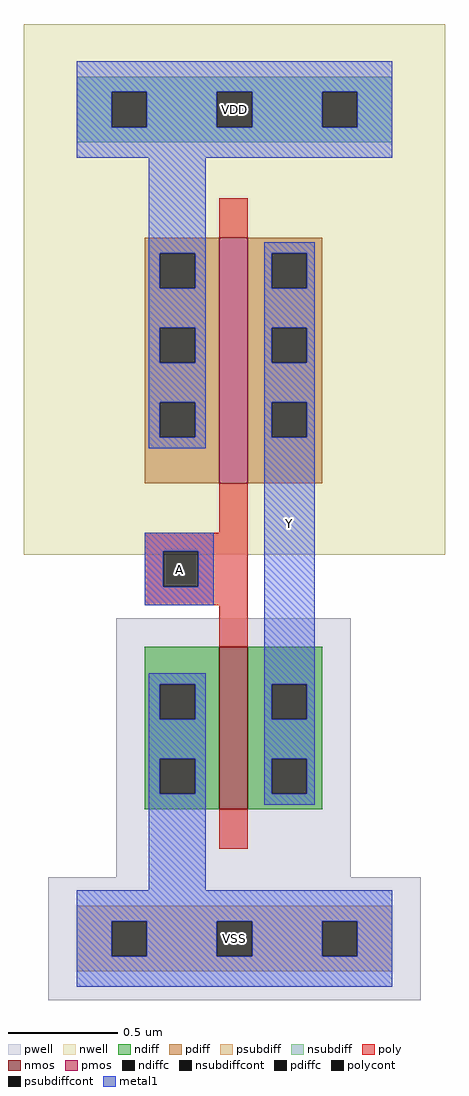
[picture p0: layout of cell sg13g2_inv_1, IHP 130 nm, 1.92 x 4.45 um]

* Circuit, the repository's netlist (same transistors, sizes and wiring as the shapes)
.SUBCKT sg13g2_inv_1 Y A VDD VSS
*.PININFO A:I Y:O VDD:B VSS:B
MN0 Y A VSS VSS sg13_lv_nmos m=1 w=740.00n l=130.00n ng=1
MP0 Y A VDD VDD sg13_lv_pmos m=1 w=1.12u l=130.00n ng=1
.ENDS

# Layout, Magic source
magic
tech ihp-sg13g2
magscale 1 2
<< nwell >>
rect -48 350 336 834
<< pwell >>
rect 36 56 250 292
rect -26 -56 314 56
<< nmos >>
rect 130 118 156 266
<< pmos >>
rect 130 415 156 639
<< ndiff >>
rect 62 232 130 266
rect 62 200 76 232
rect 108 200 130 232
rect 62 164 130 200
rect 62 132 76 164
rect 108 132 130 164
rect 62 118 130 132
rect 156 232 224 266
rect 156 200 178 232
rect 210 200 224 232
rect 156 164 224 200
rect 156 132 178 164
rect 210 132 224 164
rect 156 118 224 132
<< pdiff >>
rect 62 625 130 639
rect 62 593 76 625
rect 108 593 130 625
rect 62 557 130 593
rect 62 525 76 557
rect 108 525 130 557
rect 62 489 130 525
rect 62 457 76 489
rect 108 457 130 489
rect 62 415 130 457
rect 156 625 224 639
rect 156 593 178 625
rect 210 593 224 625
rect 156 557 224 593
rect 156 525 178 557
rect 210 525 224 557
rect 156 489 224 525
rect 156 457 178 489
rect 210 457 224 489
rect 156 415 224 457
<< ndiffc >>
rect 76 200 108 232
rect 76 132 108 164
rect 178 200 210 232
rect 178 132 210 164
<< pdiffc >>
rect 76 593 108 625
rect 76 525 108 557
rect 76 457 108 489
rect 178 593 210 625
rect 178 525 210 557
rect 178 457 210 489
<< psubdiff >>
rect 0 16 288 30
rect 0 -16 32 16
rect 64 -16 128 16
rect 160 -16 224 16
rect 256 -16 288 16
rect 0 -30 288 -16
<< nsubdiff >>
rect 0 772 288 786
rect 0 740 32 772
rect 64 740 128 772
rect 160 740 224 772
rect 256 740 288 772
rect 0 726 288 740
<< psubdiffcont >>
rect 32 -16 64 16
rect 128 -16 160 16
rect 224 -16 256 16
<< nsubdiffcont >>
rect 32 740 64 772
rect 128 740 160 772
rect 224 740 256 772
<< poly >>
rect 130 639 156 675
rect 130 370 156 415
rect 62 353 156 370
rect 62 321 79 353
rect 111 321 156 353
rect 62 304 156 321
rect 130 266 156 304
rect 130 82 156 118
<< polycont >>
rect 79 321 111 353
<< metal1 >>
rect 0 772 288 800
rect 0 740 32 772
rect 64 740 128 772
rect 160 740 224 772
rect 256 740 288 772
rect 0 712 288 740
rect 66 625 118 712
rect 66 593 76 625
rect 108 593 118 625
rect 66 557 118 593
rect 66 525 76 557
rect 108 525 118 557
rect 66 489 118 525
rect 66 457 76 489
rect 108 457 118 489
rect 66 447 118 457
rect 171 625 217 635
rect 171 593 178 625
rect 210 593 217 625
rect 171 557 217 593
rect 171 525 178 557
rect 210 525 217 557
rect 171 489 217 525
rect 171 457 178 489
rect 210 457 217 489
rect 62 353 125 370
rect 62 321 79 353
rect 111 321 125 353
rect 62 304 125 321
rect 66 232 118 242
rect 66 200 76 232
rect 108 200 118 232
rect 66 164 118 200
rect 66 132 76 164
rect 108 132 118 164
rect 66 44 118 132
rect 171 232 217 457
rect 171 200 178 232
rect 210 200 217 232
rect 171 164 217 200
rect 171 132 178 164
rect 210 132 217 164
rect 171 122 217 132
rect 0 16 288 44
rect 0 -16 32 16
rect 64 -16 128 16
rect 160 -16 224 16
rect 256 -16 288 16
rect 0 -44 288 -16
<< labels >>
flabel metal1 s 171 122 217 635 0 FreeSans 400 0 0 0 Y
port 2 nsew
flabel metal1 s 62 304 125 370 0 FreeSans 400 0 0 0 A
port 3 nsew
flabel metal1 s 0 -44 288 44 0 FreeSans 400 0 0 0 VSS
port 4 nsew
flabel metal1 s 0 712 288 800 0 FreeSans 400 0 0 0 VDD
port 5 nsew
<< properties >>
string FIXED_BBOX 0 0 288 756
<< end >>
